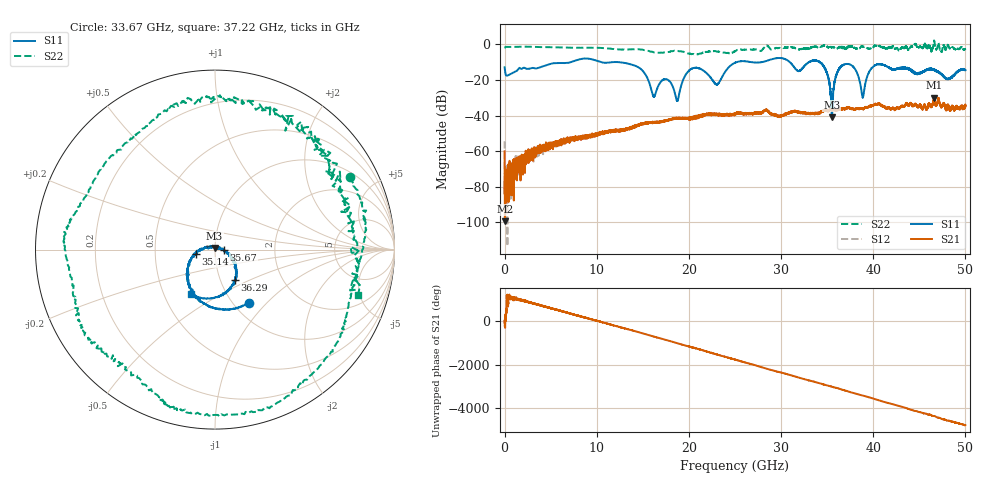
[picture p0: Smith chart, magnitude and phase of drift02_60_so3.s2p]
!Created with skrf (http://scikit-rf.org).
# Hz S RI R 50.0
!freq ReS11 ImS11 ReS21 ImS21 ReS12 ImS12 ReS22 ImS22
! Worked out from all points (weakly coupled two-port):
!   10001 points, 300 kHz to 50 GHz, reference 50 ohm
!   highest |S21| = -29.91 dB at 46.6 GHz (marker M1); lowest = -99.5 dB at 55.3 MHz (marker M2)
!   lowest |S11| = -41.0 dB at 35.51 GHz (marker M3), VSWR 1.02, Z = 49.7 + j0.851 ohm
!   |S11| at or under -10 dB: start of sweep to 7.179 GHz; 12.39 GHz to 25.16 GHz (12.77 GHz wide, 68 % of centre); 34.21 GHz to end of sweep (the widest 3 of 16)
!   |S22| runs from -5.7 to 2.2 dB; largest |S21 - S12| = 0.0035
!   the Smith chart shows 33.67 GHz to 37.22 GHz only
!   S11 on the Smith chart (normalised r, x): 33.67 GHz: 1.18, -0.80; 35.14 GHz: 0.81, -0.04; 35.67 GHz: 1.10, -0.01; 36.29 GHz: 1.17, -0.41; 37.22 GHz: 0.68, -0.37
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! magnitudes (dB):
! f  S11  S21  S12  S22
! 300 kHz  -12.9  -60.1  -54.5  -2.1
! 55.3 MHz  -15.4  -99.5  -77.5  -1.6
! 260.3 MHz  -17.6  -83.5  -80.3  -1.4
! 8.335 GHz  -8.2  -52.4  -52.0  -1.9
! 14.03 GHz  -11.8  -46.0  -46.0  -2.8
! 16.67 GHz  -23.4  -43.8  -43.5  -4.7
! 18.74 GHz  -31.7  -41.4  -41.6  -3.7
! 20.24 GHz  -13.9  -41.3  -40.7  -5.4
! 23.03 GHz  -22.6  -39.4  -39.0  -4.1
! 25 GHz  -10.3  -39.2  -39.0  -3.9
! 33.34 GHz  -9.3  -38.6  -38.8  -1.5
! 33.67 GHz  -9.1  -38.8  -38.6  -1.4
! 35.14 GHz  -19.2  -37.1  -37.0  -1.6
! 35.51 GHz  -41.0  -37.0  -36.9  -1.8
! 35.67 GHz  -26.3  -36.7  -36.7  -1.5
! 36.29 GHz  -14.0  -36.5  -36.7  -1.6
! 37.22 GHz  -11.0  -35.3  -35.2  -1.5
! 38.86 GHz  -29.9  -36.2  -35.9  -1.3
! 39.96 GHz  -12.7  -34.3  -34.4  -1.9
! 41.67 GHz  -12.9  -35.7  -35.8  -2.0
! 46.6 GHz  -14.3  -29.9  -30.4  1.9
! 50 GHz  -14.5  -34.4  -34.2  -2.6
